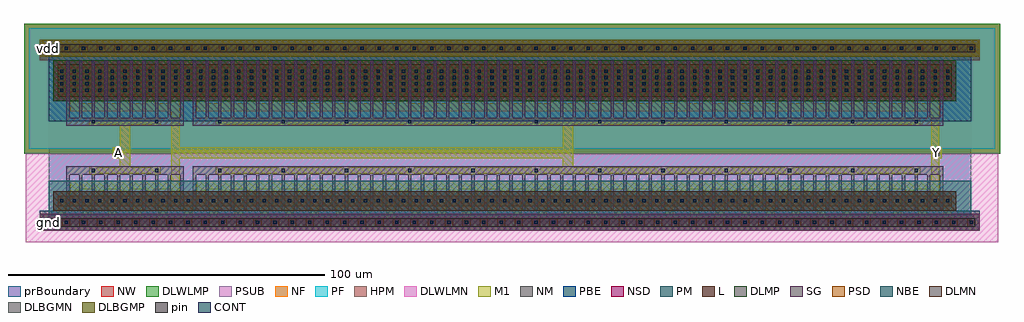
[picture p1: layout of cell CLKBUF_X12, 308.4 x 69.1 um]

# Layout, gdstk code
import gdstk
lib = gdstk.Library(unit=1e-6, precision=1e-09)
def R(c, l, rs):  # rectangles x0, y0, x1, y1
    for r in rs: c.add(gdstk.rectangle(r[:2], r[2:], *l))
def A(c, l, x, y, w, h, nx, ny, dx, dy):  # array of equal rectangles
    R(c, l, [(x+i*dx, y+j*dy, x+i*dx+w, y+j*dy+h) for i in range(nx) for j in range(ny)])
def P(c, l, *ps):  # polygons
    for p in ps: c.add(gdstk.Polygon(p, *l))
L = (3, 0)
NM = (7, 0)
SG = (8, 0)
PSD = (9, 0)
CONT = (11, 0)
M1 = (13, 0)
NF = (25, 0)
PF = (26, 0)
NSD = (28, 0)
HPM = (33, 0)
PM = (35, 0)
NW = (36, 0)
pin = (48, 1)
PSUB = (140, 0)
PBE = (146, 0)
NBE = (147, 0)
DLWLMP = (150, 0)
DLWLMN = (151, 0)
DLMP = (157, 0)
DLMN = (158, 0)
DLBGMP = (177, 0)
DLBGMN = (178, 0)
prBoundary = (235, 0)

clkbuf_x12 = lib.new_cell('CLKBUF_X12')
A(clkbuf_x12, L, -1.3, -1.3, 2.6, 2.6, 54, 2, 5.5, 55)
R(clkbuf_x12, L, [(2.8,5.1,285.4,8.5), (2.8,39.7,285.4,49.9)])
R(clkbuf_x12, NM, [(-2.75,-2.7,294.25,2.7)])
P(clkbuf_x12, NM, [(1.4,38.3),(1.4,51.3),(-2.75,51.3),(-2.75,57.7),(294.25,57.7),(294.25,51.3),(286.8,51.3),(286.8,38.3)])
P(clkbuf_x12, SG, [(5.6,3.9),(5.6,17.7),(42.6,17.7),(42.6,3.9),(41.6,3.9),(41.6,15.1),(38.6,15.1),(38.6,3.9),(37.6,3.9),(37.6,15.1),(34.6,15.1),(34.6,3.9),(33.6,3.9),(33.6,15.1),(30.6,15.1),(30.6,3.9),(29.6,3.9),(29.6,15.1),(26.6,15.1),(26.6,3.9),(25.6,3.9),(25.6,15.1),(22.6,15.1),(22.6,3.9),(21.6,3.9),(21.6,15.1),(18.6,15.1),(18.6,3.9),(17.6,3.9),(17.6,15.1),(14.6,15.1),(14.6,3.9),(13.6,3.9),(13.6,15.1),(10.6,15.1),(10.6,3.9),(9.6,3.9),(9.6,15.1),(6.6,15.1),(6.6,3.9)],
  [(45.6,3.9),(45.6,17.7),(282.6,17.7),(282.6,3.9),(281.6,3.9),(281.6,15.1),(278.6,15.1),(278.6,3.9),(277.6,3.9),(277.6,15.1),(274.6,15.1),(274.6,3.9),(273.6,3.9),(273.6,15.1),(270.6,15.1),(270.6,3.9),(269.6,3.9),(269.6,15.1),(266.6,15.1),(266.6,3.9),(265.6,3.9),(265.6,15.1),(262.6,15.1),(262.6,3.9),(261.6,3.9),(261.6,15.1),(258.6,15.1),(258.6,3.9),(257.6,3.9),(257.6,15.1),(254.6,15.1),(254.6,3.9),(253.6,3.9),(253.6,15.1),(250.6,15.1),(250.6,3.9),(249.6,3.9),(249.6,15.1),(246.6,15.1),(246.6,3.9),(245.6,3.9),(245.6,15.1),(242.6,15.1),(242.6,3.9),(241.6,3.9),(241.6,15.1),(238.6,15.1),(238.6,3.9),(237.6,3.9),(237.6,15.1),(234.6,15.1),(234.6,3.9),(233.6,3.9),(233.6,15.1),(230.6,15.1),(230.6,3.9),(229.6,3.9),(229.6,15.1),(226.6,15.1),(226.6,3.9),(225.6,3.9),(225.6,15.1),(222.6,15.1),(222.6,3.9),(221.6,3.9),(221.6,15.1),(218.6,15.1),(218.6,3.9),(217.6,3.9),(217.6,15.1),(214.6,15.1),(214.6,3.9),(213.6,3.9),(213.6,15.1),(210.6,15.1),(210.6,3.9),(209.6,3.9),(209.6,15.1),(206.6,15.1),(206.6,3.9),(205.6,3.9),(205.6,15.1),(202.6,15.1),(202.6,3.9),(201.6,3.9),(201.6,15.1),(198.6,15.1),(198.6,3.9),(197.6,3.9),(197.6,15.1),(194.6,15.1),(194.6,3.9),(193.6,3.9),(193.6,15.1),(190.6,15.1),(190.6,3.9),(189.6,3.9),(189.6,15.1),(186.6,15.1),(186.6,3.9),(185.6,3.9),(185.6,15.1),(182.6,15.1),(182.6,3.9),(181.6,3.9),(181.6,15.1),(178.6,15.1),(178.6,3.9),(177.6,3.9),(177.6,15.1),(174.6,15.1),(174.6,3.9),(173.6,3.9),(173.6,15.1),(170.6,15.1),(170.6,3.9),(169.6,3.9),(169.6,15.1),(166.6,15.1),(166.6,3.9),(165.6,3.9),(165.6,15.1),(162.6,15.1),(162.6,3.9),(161.6,3.9),(161.6,15.1),(158.6,15.1),(158.6,3.9),(157.6,3.9),(157.6,15.1),(154.6,15.1),(154.6,3.9),(153.6,3.9),(153.6,15.1),(150.6,15.1),(150.6,3.9),(149.6,3.9),(149.6,15.1),(146.6,15.1),(146.6,3.9),(145.6,3.9),(145.6,15.1),(142.6,15.1),(142.6,3.9),(141.6,3.9),(141.6,15.1),(138.6,15.1),(138.6,3.9),(137.6,3.9),(137.6,15.1),(134.6,15.1),(134.6,3.9),(133.6,3.9),(133.6,15.1),(130.6,15.1),(130.6,3.9),(129.6,3.9),(129.6,15.1),(126.6,15.1),(126.6,3.9),(125.6,3.9),(125.6,15.1),(122.6,15.1),(122.6,3.9),(121.6,3.9),(121.6,15.1),(118.6,15.1),(118.6,3.9),(117.6,3.9),(117.6,15.1),(114.6,15.1),(114.6,3.9),(113.6,3.9),(113.6,15.1),(110.6,15.1),(110.6,3.9),(109.6,3.9),(109.6,15.1),(106.6,15.1),(106.6,3.9),(105.6,3.9),(105.6,15.1),(102.6,15.1),(102.6,3.9),(101.6,3.9),(101.6,15.1),(98.6,15.1),(98.6,3.9),(97.6,3.9),(97.6,15.1),(94.6,15.1),(94.6,3.9),(93.6,3.9),(93.6,15.1),(90.6,15.1),(90.6,3.9),(89.6,3.9),(89.6,15.1),(86.6,15.1),(86.6,3.9),(85.6,3.9),(85.6,15.1),(82.6,15.1),(82.6,3.9),(81.6,3.9),(81.6,15.1),(78.6,15.1),(78.6,3.9),(77.6,3.9),(77.6,15.1),(74.6,15.1),(74.6,3.9),(73.6,3.9),(73.6,15.1),(70.6,15.1),(70.6,3.9),(69.6,3.9),(69.6,15.1),(66.6,15.1),(66.6,3.9),(65.6,3.9),(65.6,15.1),(62.6,15.1),(62.6,3.9),(61.6,3.9),(61.6,15.1),(58.6,15.1),(58.6,3.9),(57.6,3.9),(57.6,15.1),(54.6,15.1),(54.6,3.9),(53.6,3.9),(53.6,15.1),(50.6,15.1),(50.6,3.9),(49.6,3.9),(49.6,15.1),(46.6,15.1),(46.6,3.9)],
  [(5.6,30.5),(5.6,51.1),(6.6,51.1),(6.6,33.1),(9.6,33.1),(9.6,51.1),(10.6,51.1),(10.6,33.1),(13.6,33.1),(13.6,51.1),(14.6,51.1),(14.6,33.1),(17.6,33.1),(17.6,51.1),(18.6,51.1),(18.6,33.1),(21.6,33.1),(21.6,51.1),(22.6,51.1),(22.6,33.1),(25.6,33.1),(25.6,51.1),(26.6,51.1),(26.6,33.1),(29.6,33.1),(29.6,51.1),(30.6,51.1),(30.6,33.1),(33.6,33.1),(33.6,51.1),(34.6,51.1),(34.6,33.1),(37.6,33.1),(37.6,51.1),(38.6,51.1),(38.6,33.1),(41.6,33.1),(41.6,51.1),(42.6,51.1),(42.6,30.5)],
  [(45.6,30.5),(45.6,51.1),(46.6,51.1),(46.6,33.1),(49.6,33.1),(49.6,51.1),(50.6,51.1),(50.6,33.1),(53.6,33.1),(53.6,51.1),(54.6,51.1),(54.6,33.1),(57.6,33.1),(57.6,51.1),(58.6,51.1),(58.6,33.1),(61.6,33.1),(61.6,51.1),(62.6,51.1),(62.6,33.1),(65.6,33.1),(65.6,51.1),(66.6,51.1),(66.6,33.1),(69.6,33.1),(69.6,51.1),(70.6,51.1),(70.6,33.1),(73.6,33.1),(73.6,51.1),(74.6,51.1),(74.6,33.1),(77.6,33.1),(77.6,51.1),(78.6,51.1),(78.6,33.1),(81.6,33.1),(81.6,51.1),(82.6,51.1),(82.6,33.1),(85.6,33.1),(85.6,51.1),(86.6,51.1),(86.6,33.1),(89.6,33.1),(89.6,51.1),(90.6,51.1),(90.6,33.1),(93.6,33.1),(93.6,51.1),(94.6,51.1),(94.6,33.1),(97.6,33.1),(97.6,51.1),(98.6,51.1),(98.6,33.1),(101.6,33.1),(101.6,51.1),(102.6,51.1),(102.6,33.1),(105.6,33.1),(105.6,51.1),(106.6,51.1),(106.6,33.1),(109.6,33.1),(109.6,51.1),(110.6,51.1),(110.6,33.1),(113.6,33.1),(113.6,51.1),(114.6,51.1),(114.6,33.1),(117.6,33.1),(117.6,51.1),(118.6,51.1),(118.6,33.1),(121.6,33.1),(121.6,51.1),(122.6,51.1),(122.6,33.1),(125.6,33.1),(125.6,51.1),(126.6,51.1),(126.6,33.1),(129.6,33.1),(129.6,51.1),(130.6,51.1),(130.6,33.1),(133.6,33.1),(133.6,51.1),(134.6,51.1),(134.6,33.1),(137.6,33.1),(137.6,51.1),(138.6,51.1),(138.6,33.1),(141.6,33.1),(141.6,51.1),(142.6,51.1),(142.6,33.1),(145.6,33.1),(145.6,51.1),(146.6,51.1),(146.6,33.1),(149.6,33.1),(149.6,51.1),(150.6,51.1),(150.6,33.1),(153.6,33.1),(153.6,51.1),(154.6,51.1),(154.6,33.1),(157.6,33.1),(157.6,51.1),(158.6,51.1),(158.6,33.1),(161.6,33.1),(161.6,51.1),(162.6,51.1),(162.6,33.1),(165.6,33.1),(165.6,51.1),(166.6,51.1),(166.6,33.1),(169.6,33.1),(169.6,51.1),(170.6,51.1),(170.6,33.1),(173.6,33.1),(173.6,51.1),(174.6,51.1),(174.6,33.1),(177.6,33.1),(177.6,51.1),(178.6,51.1),(178.6,33.1),(181.6,33.1),(181.6,51.1),(182.6,51.1),(182.6,33.1),(185.6,33.1),(185.6,51.1),(186.6,51.1),(186.6,33.1),(189.6,33.1),(189.6,51.1),(190.6,51.1),(190.6,33.1),(193.6,33.1),(193.6,51.1),(194.6,51.1),(194.6,33.1),(197.6,33.1),(197.6,51.1),(198.6,51.1),(198.6,33.1),(201.6,33.1),(201.6,51.1),(202.6,51.1),(202.6,33.1),(205.6,33.1),(205.6,51.1),(206.6,51.1),(206.6,33.1),(209.6,33.1),(209.6,51.1),(210.6,51.1),(210.6,33.1),(213.6,33.1),(213.6,51.1),(214.6,51.1),(214.6,33.1),(217.6,33.1),(217.6,51.1),(218.6,51.1),(218.6,33.1),(221.6,33.1),(221.6,51.1),(222.6,51.1),(222.6,33.1),(225.6,33.1),(225.6,51.1),(226.6,51.1),(226.6,33.1),(229.6,33.1),(229.6,51.1),(230.6,51.1),(230.6,33.1),(233.6,33.1),(233.6,51.1),(234.6,51.1),(234.6,33.1),(237.6,33.1),(237.6,51.1),(238.6,51.1),(238.6,33.1),(241.6,33.1),(241.6,51.1),(242.6,51.1),(242.6,33.1),(245.6,33.1),(245.6,51.1),(246.6,51.1),(246.6,33.1),(249.6,33.1),(249.6,51.1),(250.6,51.1),(250.6,33.1),(253.6,33.1),(253.6,51.1),(254.6,51.1),(254.6,33.1),(257.6,33.1),(257.6,51.1),(258.6,51.1),(258.6,33.1),(261.6,33.1),(261.6,51.1),(262.6,51.1),(262.6,33.1),(265.6,33.1),(265.6,51.1),(266.6,51.1),(266.6,33.1),(269.6,33.1),(269.6,51.1),(270.6,51.1),(270.6,33.1),(273.6,33.1),(273.6,51.1),(274.6,51.1),(274.6,33.1),(277.6,33.1),(277.6,51.1),(278.6,51.1),(278.6,33.1),(281.6,33.1),(281.6,51.1),(282.6,51.1),(282.6,30.5)])
R(clkbuf_x12, PSD, [(1.4,3.7,286.8,9.9), (-2.75,52.3,294.25,57.7)])
A(clkbuf_x12, CONT, 269, -0.5, 1, 1, 5, 1, 5.5, 0)
A(clkbuf_x12, CONT, 3.6, 6.3, 1, 1, 11, 2, 4, 35)
A(clkbuf_x12, CONT, 43.6, 6.3, 1, 1, 61, 2, 4, 35)
A(clkbuf_x12, CONT, 73.6, 15.9, 1, 1, 11, 1, 20, 0)
A(clkbuf_x12, CONT, 13.6, 31.3, 1, 1, 9, 1, 20, 0)
A(clkbuf_x12, CONT, 193.6, 31.3, 1, 1, 5, 1, 20, 0)
A(clkbuf_x12, CONT, 3.6, 43.3, 1, 1, 11, 3, 4, 2)
A(clkbuf_x12, CONT, 43.6, 43.3, 1, 1, 61, 3, 4, 2)
A(clkbuf_x12, CONT, -0.5, 54.5, 1, 1, 54, 1, 5.5, 0)
R(clkbuf_x12, CONT, [(-0.5,-0.5,0.5,0.5), (-0.5,-0.5,0.5,0.5), (5,-0.5,6,0.5), (5,-0.5,6,0.5), (10.5,-0.5,11.5,0.5), (10.5,-0.5,11.5,0.5), (16,-0.5,17,0.5), (16,-0.5,17,0.5), (21.5,-0.5,22.5,0.5), (21.5,-0.5,22.5,0.5), (27,-0.5,28,0.5), (27,-0.5,28,0.5), (32.5,-0.5,33.5,0.5), (32.5,-0.5,33.5,0.5), (38,-0.5,39,0.5), (38,-0.5,39,0.5), (43.5,-0.5,44.5,0.5), (43.5,-0.5,44.5,0.5), (49,-0.5,50,0.5), (49,-0.5,50,0.5), (54.5,-0.5,55.5,0.5), (54.5,-0.5,55.5,0.5), (60,-0.5,61,0.5), (60,-0.5,61,0.5), (65.5,-0.5,66.5,0.5), (65.5,-0.5,66.5,0.5), (71,-0.5,72,0.5), (71,-0.5,72,0.5), (76.5,-0.5,77.5,0.5), (76.5,-0.5,77.5,0.5), (82,-0.5,83,0.5), (82,-0.5,83,0.5), (87.5,-0.5,88.5,0.5), (87.5,-0.5,88.5,0.5), (93,-0.5,94,0.5), (93,-0.5,94,0.5), (98.5,-0.5,99.5,0.5), (98.5,-0.5,99.5,0.5), (104,-0.5,105,0.5), (104,-0.5,105,0.5), (109.5,-0.5,110.5,0.5), (109.5,-0.5,110.5,0.5), (115,-0.5,116,0.5), (115,-0.5,116,0.5), (120.5,-0.5,121.5,0.5), (120.5,-0.5,121.5,0.5), (126,-0.5,127,0.5), (126,-0.5,127,0.5), (131.5,-0.5,132.5,0.5), (131.5,-0.5,132.5,0.5), (137,-0.5,138,0.5), (137,-0.5,138,0.5), (142.5,-0.5,143.5,0.5), (142.5,-0.5,143.5,0.5), (148,-0.5,149,0.5), (148,-0.5,149,0.5), (153.5,-0.5,154.5,0.5), (153.5,-0.5,154.5,0.5), (159,-0.5,160,0.5), (159,-0.5,160,0.5), (164.5,-0.5,165.5,0.5), (164.5,-0.5,165.5,0.5), (170,-0.5,171,0.5), (170,-0.5,171,0.5), (175.5,-0.5,176.5,0.5), (175.5,-0.5,176.5,0.5), (181,-0.5,182,0.5), (181,-0.5,182,0.5), (186.5,-0.5,187.5,0.5), (186.5,-0.5,187.5,0.5), (192,-0.5,193,0.5), (192,-0.5,193,0.5), (197.5,-0.5,198.5,0.5), (197.5,-0.5,198.5,0.5), (203,-0.5,204,0.5), (203,-0.5,204,0.5), (208.5,-0.5,209.5,0.5), (208.5,-0.5,209.5,0.5), (214,-0.5,215,0.5), (214,-0.5,215,0.5), (219.5,-0.5,220.5,0.5), (219.5,-0.5,220.5,0.5), (225,-0.5,226,0.5), (225,-0.5,226,0.5), (230.5,-0.5,231.5,0.5), (230.5,-0.5,231.5,0.5), (236,-0.5,237,0.5), (236,-0.5,237,0.5), (241.5,-0.5,242.5,0.5), (241.5,-0.5,242.5,0.5), (247,-0.5,248,0.5), (247,-0.5,248,0.5), (252.5,-0.5,253.5,0.5), (252.5,-0.5,253.5,0.5), (258,-0.5,259,0.5), (258,-0.5,259,0.5), (263.5,-0.5,264.5,0.5), (263.5,-0.5,264.5,0.5), (269,-0.5,270,0.5), (13.6,15.9,14.6,16.9), (13.6,15.9,14.6,16.9), (33.6,15.9,34.6,16.9), (33.6,15.9,34.6,16.9), (53.6,15.9,54.6,16.9), (53.6,15.9,54.6,16.9), (73.6,15.9,74.6,16.9), (173.6,31.3,174.6,32.3), (193.6,31.3,194.6,32.3)])
P(clkbuf_x12, M1, [(-1.3,-1.3),(-1.3,1.3),(2.8,1.3),(2.8,8.5),(5.4,8.5),(5.4,1.3),(10.8,1.3),(10.8,8.5),(13.4,8.5),(13.4,1.3),(18.8,1.3),(18.8,8.5),(21.4,8.5),(21.4,1.3),(26.8,1.3),(26.8,8.5),(29.4,8.5),(29.4,1.3),(34.8,1.3),(34.8,8.5),(37.4,8.5),(37.4,1.3),(42.8,1.3),(42.8,8.5),(45.4,8.5),(45.4,1.3),(50.8,1.3),(50.8,8.5),(53.4,8.5),(53.4,1.3),(58.8,1.3),(58.8,8.5),(61.4,8.5),(61.4,1.3),(66.8,1.3),(66.8,8.5),(69.4,8.5),(69.4,1.3),(74.8,1.3),(74.8,8.5),(77.4,8.5),(77.4,1.3),(82.8,1.3),(82.8,8.5),(85.4,8.5),(85.4,1.3),(90.8,1.3),(90.8,8.5),(93.4,8.5),(93.4,1.3),(98.8,1.3),(98.8,8.5),(101.4,8.5),(101.4,1.3),(106.8,1.3),(106.8,8.5),(109.4,8.5),(109.4,1.3),(114.8,1.3),(114.8,8.5),(117.4,8.5),(117.4,1.3),(122.8,1.3),(122.8,8.5),(125.4,8.5),(125.4,1.3),(130.8,1.3),(130.8,8.5),(133.4,8.5),(133.4,1.3),(138.8,1.3),(138.8,8.5),(141.4,8.5),(141.4,1.3),(146.8,1.3),(146.8,8.5),(149.4,8.5),(149.4,1.3),(154.8,1.3),(154.8,8.5),(157.4,8.5),(157.4,1.3),(162.8,1.3),(162.8,8.5),(165.4,8.5),(165.4,1.3),(170.8,1.3),(170.8,8.5),(173.4,8.5),(173.4,1.3),(178.8,1.3),(178.8,8.5),(181.4,8.5),(181.4,1.3),(186.8,1.3),(186.8,8.5),(189.4,8.5),(189.4,1.3),(194.8,1.3),(194.8,8.5),(197.4,8.5),(197.4,1.3),(202.8,1.3),(202.8,8.5),(205.4,8.5),(205.4,1.3),(210.8,1.3),(210.8,8.5),(213.4,8.5),(213.4,1.3),(218.8,1.3),(218.8,8.5),(221.4,8.5),(221.4,1.3),(226.8,1.3),(226.8,8.5),(229.4,8.5),(229.4,1.3),(234.8,1.3),(234.8,8.5),(237.4,8.5),(237.4,1.3),(242.8,1.3),(242.8,8.5),(245.4,8.5),(245.4,1.3),(250.8,1.3),(250.8,8.5),(253.4,8.5),(253.4,1.3),(258.8,1.3),(258.8,8.5),(261.4,8.5),(261.4,1.3),(266.8,1.3),(266.8,8.5),(269.4,8.5),(269.4,1.3),(274.8,1.3),(274.8,8.5),(277.4,8.5),(277.4,1.3),(282.8,1.3),(282.8,8.5),(285.4,8.5),(285.4,1.3),(292.8,1.3),(292.8,-1.3)],
  [(12.8,15.1),(12.8,17.7),(15.4,17.7),(15.4,17.4),(22.4,17.4),(22.4,20.3),(20.3,20.3),(20.3,23.7),(22.4,23.7),(22.4,30.8),(15.4,30.8),(15.4,30.5),(12.8,30.5),(12.8,33.1),(15.4,33.1),(15.4,32.8),(32.8,32.8),(32.8,33.1),(35.4,33.1),(35.4,30.5),(32.8,30.5),(32.8,30.8),(25.8,30.8),(25.8,17.4),(32.8,17.4),(32.8,17.7),(35.4,17.7),(35.4,15.1),(32.8,15.1),(32.8,15.4),(15.4,15.4),(15.4,15.1)],
  [(6.8,5.1),(6.8,13.1),(38.8,13.1),(38.8,35.1),(6.8,35.1),(6.8,49.9),(9.4,49.9),(9.4,37.7),(14.8,37.7),(14.8,49.9),(17.4,49.9),(17.4,37.7),(22.8,37.7),(22.8,49.9),(25.4,49.9),(25.4,37.7),(30.8,37.7),(30.8,49.9),(33.4,49.9),(33.4,37.7),(38.8,37.7),(38.8,49.9),(41.4,49.9),(41.4,23.7),(162.4,23.7),(162.4,30.8),(155.4,30.8),(155.4,30.5),(152.8,30.5),(152.8,30.8),(135.4,30.8),(135.4,30.5),(132.8,30.5),(132.8,30.8),(115.4,30.8),(115.4,30.5),(112.8,30.5),(112.8,30.8),(95.4,30.8),(95.4,30.5),(92.8,30.5),(92.8,30.8),(75.4,30.8),(75.4,30.5),(72.8,30.5),(72.8,30.8),(55.4,30.8),(55.4,30.5),(52.8,30.5),(52.8,33.1),(55.4,33.1),(55.4,32.8),(72.8,32.8),(72.8,33.1),(75.4,33.1),(75.4,32.8),(92.8,32.8),(92.8,33.1),(95.4,33.1),(95.4,32.8),(112.8,32.8),(112.8,33.1),(115.4,33.1),(115.4,32.8),(132.8,32.8),(132.8,33.1),(135.4,33.1),(135.4,32.8),(152.8,32.8),(152.8,33.1),(155.4,33.1),(155.4,32.8),(172.8,32.8),(172.8,33.1),(175.4,33.1),(175.4,32.8),(192.8,32.8),(192.8,33.1),(195.4,33.1),(195.4,32.8),(212.8,32.8),(212.8,33.1),(215.4,33.1),(215.4,32.8),(232.8,32.8),(232.8,33.1),(235.4,33.1),(235.4,32.8),(252.8,32.8),(252.8,33.1),(255.4,33.1),(255.4,32.8),(272.8,32.8),(272.8,33.1),(275.4,33.1),(275.4,30.5),(272.8,30.5),(272.8,30.8),(255.4,30.8),(255.4,30.5),(252.8,30.5),(252.8,30.8),(235.4,30.8),(235.4,30.5),(232.8,30.5),(232.8,30.8),(215.4,30.8),(215.4,30.5),(212.8,30.5),(212.8,30.8),(195.4,30.8),(195.4,30.5),(192.8,30.5),(192.8,30.8),(175.4,30.8),(175.4,30.5),(172.8,30.5),(172.8,30.8),(165.8,30.8),(165.8,17.4),(172.8,17.4),(172.8,17.7),(175.4,17.7),(175.4,17.4),(192.8,17.4),(192.8,17.7),(195.4,17.7),(195.4,17.4),(212.8,17.4),(212.8,17.7),(215.4,17.7),(215.4,17.4),(232.8,17.4),(232.8,17.7),(235.4,17.7),(235.4,17.4),(252.8,17.4),(252.8,17.7),(255.4,17.7),(255.4,17.4),(272.8,17.4),(272.8,17.7),(275.4,17.7),(275.4,15.1),(272.8,15.1),(272.8,15.4),(255.4,15.4),(255.4,15.1),(252.8,15.1),(252.8,15.4),(235.4,15.4),(235.4,15.1),(232.8,15.1),(232.8,15.4),(215.4,15.4),(215.4,15.1),(212.8,15.1),(212.8,15.4),(195.4,15.4),(195.4,15.1),(192.8,15.1),(192.8,15.4),(175.4,15.4),(175.4,15.1),(172.8,15.1),(172.8,15.4),(155.4,15.4),(155.4,15.1),(152.8,15.1),(152.8,15.4),(135.4,15.4),(135.4,15.1),(132.8,15.1),(132.8,15.4),(115.4,15.4),(115.4,15.1),(112.8,15.1),(112.8,15.4),(95.4,15.4),(95.4,15.1),(92.8,15.1),(92.8,15.4),(75.4,15.4),(75.4,15.1),(72.8,15.1),(72.8,15.4),(55.4,15.4),(55.4,15.1),(52.8,15.1),(52.8,17.7),(55.4,17.7),(55.4,17.4),(72.8,17.4),(72.8,17.7),(75.4,17.7),(75.4,17.4),(92.8,17.4),(92.8,17.7),(95.4,17.7),(95.4,17.4),(112.8,17.4),(112.8,17.7),(115.4,17.7),(115.4,17.4),(132.8,17.4),(132.8,17.7),(135.4,17.7),(135.4,17.4),(152.8,17.4),(152.8,17.7),(155.4,17.7),(155.4,17.4),(162.4,17.4),(162.4,20.3),(41.4,20.3),(41.4,5.1),(38.8,5.1),(38.8,10.5),(33.4,10.5),(33.4,5.1),(30.8,5.1),(30.8,10.5),(25.4,10.5),(25.4,5.1),(22.8,5.1),(22.8,10.5),(17.4,10.5),(17.4,5.1),(14.8,5.1),(14.8,10.5),(9.4,10.5),(9.4,5.1)],
  [(46.8,5.1),(46.8,13.1),(278.8,13.1),(278.8,35.1),(46.8,35.1),(46.8,49.9),(49.4,49.9),(49.4,37.7),(54.8,37.7),(54.8,49.9),(57.4,49.9),(57.4,37.7),(62.8,37.7),(62.8,49.9),(65.4,49.9),(65.4,37.7),(70.8,37.7),(70.8,49.9),(73.4,49.9),(73.4,37.7),(78.8,37.7),(78.8,49.9),(81.4,49.9),(81.4,37.7),(86.8,37.7),(86.8,49.9),(89.4,49.9),(89.4,37.7),(94.8,37.7),(94.8,49.9),(97.4,49.9),(97.4,37.7),(102.8,37.7),(102.8,49.9),(105.4,49.9),(105.4,37.7),(110.8,37.7),(110.8,49.9),(113.4,49.9),(113.4,37.7),(118.8,37.7),(118.8,49.9),(121.4,49.9),(121.4,37.7),(126.8,37.7),(126.8,49.9),(129.4,49.9),(129.4,37.7),(134.8,37.7),(134.8,49.9),(137.4,49.9),(137.4,37.7),(142.8,37.7),(142.8,49.9),(145.4,49.9),(145.4,37.7),(150.8,37.7),(150.8,49.9),(153.4,49.9),(153.4,37.7),(158.8,37.7),(158.8,49.9),(161.4,49.9),(161.4,37.7),(166.8,37.7),(166.8,49.9),(169.4,49.9),(169.4,37.7),(174.8,37.7),(174.8,49.9),(177.4,49.9),(177.4,37.7),(182.8,37.7),(182.8,49.9),(185.4,49.9),(185.4,37.7),(190.8,37.7),(190.8,49.9),(193.4,49.9),(193.4,37.7),(198.8,37.7),(198.8,49.9),(201.4,49.9),(201.4,37.7),(206.8,37.7),(206.8,49.9),(209.4,49.9),(209.4,37.7),(214.8,37.7),(214.8,49.9),(217.4,49.9),(217.4,37.7),(222.8,37.7),(222.8,49.9),(225.4,49.9),(225.4,37.7),(230.8,37.7),(230.8,49.9),(233.4,49.9),(233.4,37.7),(238.8,37.7),(238.8,49.9),(241.4,49.9),(241.4,37.7),(246.8,37.7),(246.8,49.9),(249.4,49.9),(249.4,37.7),(254.8,37.7),(254.8,49.9),(257.4,49.9),(257.4,37.7),(262.8,37.7),(262.8,49.9),(265.4,49.9),(265.4,37.7),(270.8,37.7),(270.8,49.9),(273.4,49.9),(273.4,37.7),(278.8,37.7),(278.8,49.9),(281.4,49.9),(281.4,23.7),(282.2,23.7),(282.2,20.3),(281.4,20.3),(281.4,5.1),(278.8,5.1),(278.8,10.5),(273.4,10.5),(273.4,5.1),(270.8,5.1),(270.8,10.5),(265.4,10.5),(265.4,5.1),(262.8,5.1),(262.8,10.5),(257.4,10.5),(257.4,5.1),(254.8,5.1),(254.8,10.5),(249.4,10.5),(249.4,5.1),(246.8,5.1),(246.8,10.5),(241.4,10.5),(241.4,5.1),(238.8,5.1),(238.8,10.5),(233.4,10.5),(233.4,5.1),(230.8,5.1),(230.8,10.5),(225.4,10.5),(225.4,5.1),(222.8,5.1),(222.8,10.5),(217.4,10.5),(217.4,5.1),(214.8,5.1),(214.8,10.5),(209.4,10.5),(209.4,5.1),(206.8,5.1),(206.8,10.5),(201.4,10.5),(201.4,5.1),(198.8,5.1),(198.8,10.5),(193.4,10.5),(193.4,5.1),(190.8,5.1),(190.8,10.5),(185.4,10.5),(185.4,5.1),(182.8,5.1),(182.8,10.5),(177.4,10.5),(177.4,5.1),(174.8,5.1),(174.8,10.5),(169.4,10.5),(169.4,5.1),(166.8,5.1),(166.8,10.5),(161.4,10.5),(161.4,5.1),(158.8,5.1),(158.8,10.5),(153.4,10.5),(153.4,5.1),(150.8,5.1),(150.8,10.5),(145.4,10.5),(145.4,5.1),(142.8,5.1),(142.8,10.5),(137.4,10.5),(137.4,5.1),(134.8,5.1),(134.8,10.5),(129.4,10.5),(129.4,5.1),(126.8,5.1),(126.8,10.5),(121.4,10.5),(121.4,5.1),(118.8,5.1),(118.8,10.5),(113.4,10.5),(113.4,5.1),(110.8,5.1),(110.8,10.5),(105.4,10.5),(105.4,5.1),(102.8,5.1),(102.8,10.5),(97.4,10.5),(97.4,5.1),(94.8,5.1),(94.8,10.5),(89.4,10.5),(89.4,5.1),(86.8,5.1),(86.8,10.5),(81.4,10.5),(81.4,5.1),(78.8,5.1),(78.8,10.5),(73.4,10.5),(73.4,5.1),(70.8,5.1),(70.8,10.5),(65.4,10.5),(65.4,5.1),(62.8,5.1),(62.8,10.5),(57.4,10.5),(57.4,5.1),(54.8,5.1),(54.8,10.5),(49.4,10.5),(49.4,5.1)],
  [(2.8,39.7),(2.8,53.7),(-1.3,53.7),(-1.3,56.3),(292.8,56.3),(292.8,53.7),(285.4,53.7),(285.4,39.7),(282.8,39.7),(282.8,53.7),(277.4,53.7),(277.4,39.7),(274.8,39.7),(274.8,53.7),(269.4,53.7),(269.4,39.7),(266.8,39.7),(266.8,53.7),(261.4,53.7),(261.4,39.7),(258.8,39.7),(258.8,53.7),(253.4,53.7),(253.4,39.7),(250.8,39.7),(250.8,53.7),(245.4,53.7),(245.4,39.7),(242.8,39.7),(242.8,53.7),(237.4,53.7),(237.4,39.7),(234.8,39.7),(234.8,53.7),(229.4,53.7),(229.4,39.7),(226.8,39.7),(226.8,53.7),(221.4,53.7),(221.4,39.7),(218.8,39.7),(218.8,53.7),(213.4,53.7),(213.4,39.7),(210.8,39.7),(210.8,53.7),(205.4,53.7),(205.4,39.7),(202.8,39.7),(202.8,53.7),(197.4,53.7),(197.4,39.7),(194.8,39.7),(194.8,53.7),(189.4,53.7),(189.4,39.7),(186.8,39.7),(186.8,53.7),(181.4,53.7),(181.4,39.7),(178.8,39.7),(178.8,53.7),(173.4,53.7),(173.4,39.7),(170.8,39.7),(170.8,53.7),(165.4,53.7),(165.4,39.7),(162.8,39.7),(162.8,53.7),(157.4,53.7),(157.4,39.7),(154.8,39.7),(154.8,53.7),(149.4,53.7),(149.4,39.7),(146.8,39.7),(146.8,53.7),(141.4,53.7),(141.4,39.7),(138.8,39.7),(138.8,53.7),(133.4,53.7),(133.4,39.7),(130.8,39.7),(130.8,53.7),(125.4,53.7),(125.4,39.7),(122.8,39.7),(122.8,53.7),(117.4,53.7),(117.4,39.7),(114.8,39.7),(114.8,53.7),(109.4,53.7),(109.4,39.7),(106.8,39.7),(106.8,53.7),(101.4,53.7),(101.4,39.7),(98.8,39.7),(98.8,53.7),(93.4,53.7),(93.4,39.7),(90.8,39.7),(90.8,53.7),(85.4,53.7),(85.4,39.7),(82.8,39.7),(82.8,53.7),(77.4,53.7),(77.4,39.7),(74.8,39.7),(74.8,53.7),(69.4,53.7),(69.4,39.7),(66.8,39.7),(66.8,53.7),(61.4,53.7),(61.4,39.7),(58.8,39.7),(58.8,53.7),(53.4,53.7),(53.4,39.7),(50.8,39.7),(50.8,53.7),(45.4,53.7),(45.4,39.7),(42.8,39.7),(42.8,53.7),(37.4,53.7),(37.4,39.7),(34.8,39.7),(34.8,53.7),(29.4,53.7),(29.4,39.7),(26.8,39.7),(26.8,53.7),(21.4,53.7),(21.4,39.7),(18.8,39.7),(18.8,53.7),(13.4,53.7),(13.4,39.7),(10.8,39.7),(10.8,53.7),(5.4,53.7),(5.4,39.7)])
R(clkbuf_x12, NF, [(-6.3,23.2,299.1,61.3)])
R(clkbuf_x12, PF, [(-6.3,23.2,299.1,61.3)])
R(clkbuf_x12, NSD, [(-2.75,-2.7,294.25,2.7), (1.4,38.3,286.8,51.3)])
P(clkbuf_x12, HPM, [(-2.75,-2.7),(-2.75,3.7),(1.4,3.7),(1.4,9.9),(286.8,9.9),(286.8,3.7),(294.25,3.7),(294.25,-2.7)],
  [(1.4,38.3),(1.4,51.3),(-2.75,51.3),(-2.75,57.7),(294.25,57.7),(294.25,51.3),(286.8,51.3),(286.8,38.3)])
R(clkbuf_x12, PM, [(-2.75,52.3,294.25,57.7)])
P(clkbuf_x12, PM, [(-2.75,-2.7),(-2.75,3.7),(1.4,3.7),(1.4,9.9),(286.8,9.9),(286.8,3.7),(294.25,3.7),(294.25,-2.7)])
R(clkbuf_x12, NW, [(-7.8,21.7,300.6,62.8)])
R(clkbuf_x12, pin, [(-1.3,-1.3,292.8,1.3), (21.1,21.1,22.9,22.9), (279.6,21.1,281.4,22.9), (-1.3,53.7,292.8,56.3)])
R(clkbuf_x12, PSUB, [(-6.3,23.2,299.1,61.3)])
R(clkbuf_x12, PBE, [(0,32,291.5,52.7)])
R(clkbuf_x12, NBE, [(0,2.3,291.5,13.1)])
R(clkbuf_x12, DLWLMP, [(-7.8,21.7,300.6,62.8)])
R(clkbuf_x12, DLWLMN, [(-7.2,-6.3,300,21.7)])
R(clkbuf_x12, DLMP, [(1.4,38.3,46.8,51.3), (41.4,38.3,286.8,51.3)])
R(clkbuf_x12, DLMN, [(1.4,3.7,286.8,9.9)])
R(clkbuf_x12, DLBGMP, [(-2.75,52.3,294.25,57.7)])
R(clkbuf_x12, DLBGMN, [(-2.75,-2.7,294.25,2.7)])
R(clkbuf_x12, prBoundary, [(0,0,291.5,55)])
clkbuf_x12.add(gdstk.Label('Y', (280.5,22), layer=48, texttype=0))
clkbuf_x12.add(gdstk.Label('vdd', (0,55), layer=48, texttype=0))
clkbuf_x12.add(gdstk.Label('gnd', (0,0), layer=48, texttype=0))
clkbuf_x12.add(gdstk.Label('A', (22,22), layer=48, texttype=0))

lib.write_gds('CLKBUF_X12.gds')
